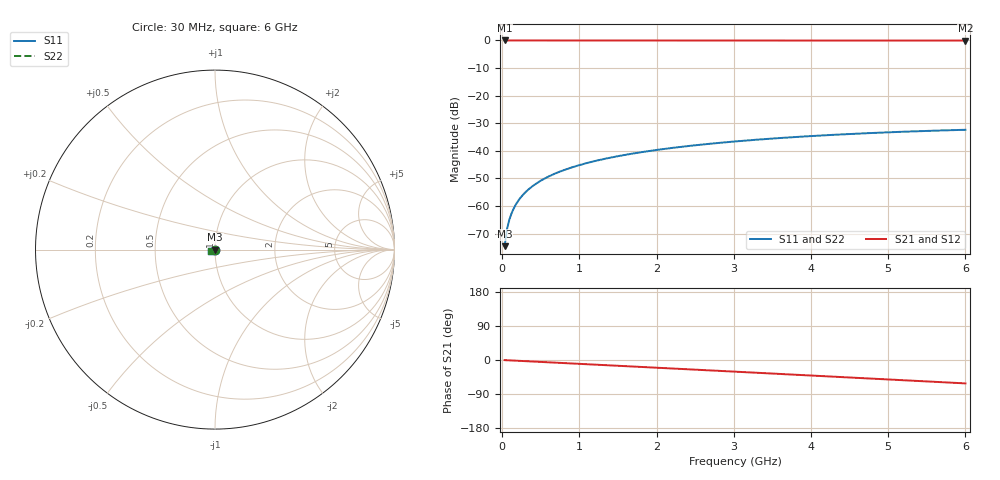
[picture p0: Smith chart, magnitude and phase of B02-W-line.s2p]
! yapnr Order 0 O0-W: O0-W B02 W dL5 (line, family W)
! stackup OSHPARK-4L-FR408HR, nominal parameters; geometry of the OSHPARK-4L-FR408HR design
! model: 2D quasi-static RLGC (Djordjevic-Sarkar, Huray roughness, Wheeler loss); generated by python -m yapnr.rf.coupons expected --stackup OSHPARK-4L-FR408HR --upload W
! reference planes 10 mm from each end; 50 ohm (from the W line's Zc)
# GHz S DB R 50
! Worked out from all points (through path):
!   200 points, 30 MHz to 6 GHz, reference 50 ohm
!   highest |S21| = 0.00 dB at 30 MHz (marker M1); lowest = 0.0 dB at 6 GHz (marker M2)
!   group delay of S21, straight-line fit = 28.6 ps
!   lowest |S11| = -74.5 dB at 30 MHz (marker M3), VSWR 1.00, Z = 50 - j0.0188 ohm
!   |S11| at or under -10 dB: start of sweep to end of sweep
!   |S22| runs from -74.5 to -32.4 dB; largest |S21 - S12| = 0
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0.03  -74.52 -86.5  -0.00 -0.3  -0.00 -0.3  -74.52 -86.5
0.06  -68.51 -89.9  -0.00 -0.6  -0.00 -0.6  -68.51 -89.9
0.09  -65.06 -91.5  -0.00 -0.9  -0.00 -0.9  -65.06 -91.5
0.12  -62.62 -92.6  -0.00 -1.2  -0.00 -1.2  -62.62 -92.6
0.15  -60.75 -93.5  -0.00 -1.5  -0.00 -1.5  -60.75 -93.5
0.18  -59.22 -94.2  -0.00 -1.8  -0.00 -1.8  -59.22 -94.2
0.21  -57.93 -94.8  -0.00 -2.1  -0.00 -2.1  -57.93 -94.8
0.27  -55.85 -95.9  -0.00 -2.8  -0.00 -2.8  -55.85 -95.9
0.33  -54.19 -96.9  -0.00 -3.4  -0.00 -3.4  -54.19 -96.9
0.39  -52.81 -97.8  -0.00 -4.0  -0.00 -4.0  -52.81 -97.8
0.48  -51.10 -99.0  -0.00 -4.9  -0.00 -4.9  -51.10 -99.0
0.57  -49.70 -100.2  -0.01 -5.8  -0.01 -5.8  -49.70 -100.2
0.78  -47.15 -102.8  -0.01 -7.9  -0.01 -7.9  -47.15 -102.8
1.05  -44.75 -105.9  -0.01 -10.7  -0.01 -10.7  -44.75 -105.9
1.26  -43.29 -108.3  -0.01 -12.8  -0.01 -12.8  -43.29 -108.3
1.5  -41.91 -110.9  -0.01 -15.3  -0.01 -15.3  -41.91 -110.9
2.04  -39.51 -116.8  -0.02 -20.8  -0.02 -20.8  -39.51 -116.8
2.52  -37.90 -121.9  -0.02 -25.7  -0.02 -25.7  -37.90 -121.9
3.03  -36.55 -127.3  -0.02 -30.9  -0.02 -30.9  -36.55 -127.3
4.02  -34.60 -137.8  -0.03 -41.1  -0.03 -41.1  -34.60 -137.8
5.01  -33.26 -148.3  -0.04 -51.4  -0.04 -51.4  -33.26 -148.3
6  -32.36 -158.8  -0.05 -61.7  -0.05 -61.7  -32.36 -158.8
